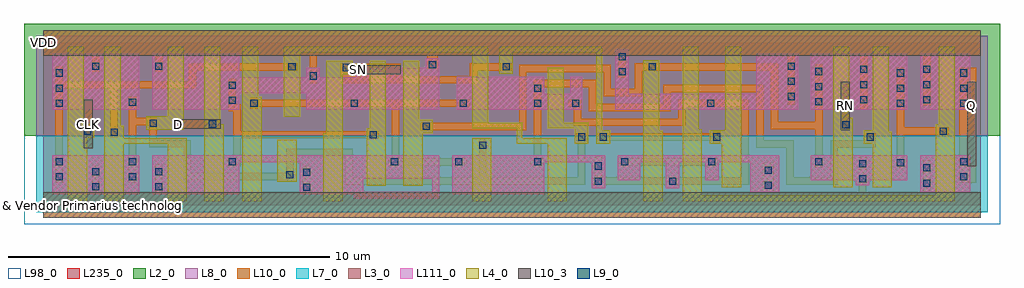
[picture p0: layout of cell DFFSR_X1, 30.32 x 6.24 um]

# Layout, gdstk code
import gdstk
lib = gdstk.Library(unit=1e-6, precision=1e-09)
def R(c, l, rs):  # rectangles x0, y0, x1, y1
    for r in rs: c.add(gdstk.rectangle(r[:2], r[2:], *l))
def A(c, l, x, y, w, h, nx, ny, dx, dy):  # array of equal rectangles
    R(c, l, [(x+i*dx, y+j*dy, x+i*dx+w, y+j*dy+h) for i in range(nx) for j in range(ny)])
def P(c, l, *ps):  # polygons
    for p in ps: c.add(gdstk.Polygon(p, *l))
L2_0 = (2, 0)
L3_0 = (3, 0)
L4_0 = (4, 0)
L7_0 = (7, 0)
L8_0 = (8, 0)
L9_0 = (9, 0)
L10_0 = (10, 0)
L10_3 = (10, 3)
L98_0 = (98, 0)
L111_0 = (111, 0)
L235_0 = (235, 0)

dffsr_x1 = lib.new_cell('DFFSR_X1')
R(dffsr_x1, L2_0, [(-0.6,2.155,29.72,5.64)])
R(dffsr_x1, L3_0, [(0.28,0.345,2.98,1.555), (27.24,0.405,28.8,1.555), (0.28,2.955,2.98,4.695), (23.845,2.955,26.84,4.695), (27.24,2.955,28.8,4.695)])
P(dffsr_x1, L3_0, [(12.3,4.565),(11.88,4.565),(11.88,4.265),(9.72,4.265),(9.72,3.965),(8.595,3.965),(8.595,4.265),(8.175,4.265),(8.175,3.97),(6.08,3.97),(6.08,4.695),(3.38,4.695),(3.38,2.955),(6.08,2.955),(6.08,3.47),(8.175,3.47),(8.175,2.955),(12.3,2.955)],
  [(22.865,1.555),(17.85,1.555),(17.85,0.775),(18.54,0.775),(18.54,1.335),(19.34,1.335),(19.34,0.525),(19.76,0.525),(19.76,1.335),(20.56,1.335),(20.56,0.775),(20.98,0.775),(20.98,1.335),(21.965,1.335),(21.965,0.405),(22.865,0.405)],
  [(26.84,1.555),(23.845,1.555),(23.845,0.775),(25.24,0.775),(25.24,0.61),(25.66,0.61),(25.66,0.775),(26.84,0.775)],
  [(16.745,3.985),(16.365,3.985),(16.365,3.455),(15.565,3.455),(15.565,3.985),(12.84,3.985),(12.84,2.955),(16.745,2.955)],
  [(23.445,4.695),(22.145,4.695),(22.145,3.455),(18.19,3.455),(18.19,4.835),(17.77,4.835),(17.77,2.955),(23.445,2.955)],
  [(17.45,1.555),(12.7,1.555),(12.7,0.345),(15.565,0.345),(15.565,1.335),(17.03,1.335),(17.03,0.525),(17.45,0.525)],
  [(12.3,1.555),(12.08,1.555),(12.08,0.42),(9.94,0.42),(9.94,0.82),(12.08,0.82),(12.08,1.555),(3.38,1.555),(3.38,0.345),(6.08,0.345),(6.08,1.335),(7.97,1.335),(7.97,0.345),(9.64,0.345),(9.64,0.2),(12.3,0.2)])
R(dffsr_x1, L4_0, [(3.86,0.125,4.46,1.99), (13.32,0.125,13.92,2.075), (15.665,0.125,16.265,2.025), (7.27,0.73,7.87,2.025), (7.45,0.73,7.87,1.15), (13.44,1.655,13.86,2.075), (16.515,1.905,16.935,2.325), (17.185,1.905,17.605,2.325), (20.71,1.905,21.13,2.325), (25.485,1.905,25.905,2.325), (10.04,1.975,10.46,2.395), (1.99,2.05,2.41,2.47), (1.165,2.09,1.585,2.51), (27.75,2.09,28.17,2.51), (11.685,2.235,12.105,2.655), (24.72,2.29,25.14,2.71), (5.045,2.31,5.465,2.73), (16.515,2.31,16.935,2.565), (3.2,2.335,3.62,2.755), (3.2,2.335,4.36,2.755), (3.86,2.41,4.36,4.915), (13.32,2.41,13.82,4.915), (15.665,2.41,16.165,4.26), (7.475,2.745,7.975,4.745), (6.335,2.95,6.755,3.37), (9.2,4.065,9.62,4.485), (7.515,4.085,7.935,4.505), (14.17,4.085,14.59,4.505), (14.17,4.085,14.59,4.915), (18.71,4.085,19.13,4.505), (7.475,4.505,7.975,4.8)])
P(dffsr_x1, L4_0, [(21.68,4.915),(21.18,4.915),(21.18,2.325),(21.08,2.325),(21.08,0.555),(21.68,0.555)],
  [(11.78,2.655),(11.68,2.655),(11.68,4.485),(11.18,4.485),(11.18,0.6),(11.78,0.6)],
  [(9.295,4.485),(8.795,4.485),(8.795,2.23),(8.695,2.23),(8.695,0.125),(9.295,0.125)],
  [(25.14,2.295),(25.04,2.295),(25.04,4.915),(24.54,4.915),(24.54,0.555),(25.14,0.555)],
  [(6.78,3.37),(6.68,3.37),(6.68,4.915),(6.18,4.915),(6.18,0.125),(6.78,0.125)],
  [(26.36,2.28),(26.26,2.28),(26.26,4.915),(25.76,4.915),(25.76,0.555),(26.36,0.555)],
  [(20.46,2.355),(20.36,2.355),(20.36,4.915),(19.86,4.915),(19.86,0.125),(20.46,0.125)],
  [(10.64,4.485),(10.14,4.485),(10.14,2.225),(10.04,2.225),(10.04,0.6),(10.64,0.6)],
  [(1.36,2.51),(1.26,2.51),(1.26,4.915),(0.76,4.915),(0.76,0.125),(1.36,0.125)],
  [(2.5,2.47),(2.4,2.47),(2.4,4.915),(1.9,4.915),(1.9,0.125),(2.5,0.125)],
  [(19.24,2.315),(19.14,2.315),(19.14,4.505),(18.64,4.505),(18.64,0.125),(19.24,0.125)],
  [(28.32,4.915),(27.82,4.915),(27.82,2.51),(27.72,2.51),(27.72,0.215),(28.32,0.215)],
  [(5.6,2.51),(5.5,2.51),(5.5,4.915),(5,4.915),(5,0.125),(5.6,0.125)])
R(dffsr_x1, L7_0, [(-0.22,-0.22,29.34,2.155)])
R(dffsr_x1, L8_0, [(-0.22,2.155,29.34,5.26)])
A(dffsr_x1, L9_0, 0.38, 3.055, 0.22, 0.22, 1, 3, 0, 0.47)
A(dffsr_x1, L9_0, 26.52, 3.055, 0.22, 0.22, 1, 3, 0, 0.47)
A(dffsr_x1, L9_0, 28.48, 3.055, 0.22, 0.22, 1, 3, 0, 0.47)
A(dffsr_x1, L9_0, 23.985, 3.1, 0.22, 0.22, 1, 3, 0, 0.47)
A(dffsr_x1, L9_0, 25.38, 3.165, 0.22, 0.22, 1, 3, 0, 0.47)
A(dffsr_x1, L9_0, 27.34, 3.165, 0.22, 0.22, 1, 3, 0, 0.47)
A(dffsr_x1, L9_0, 23.125, 3.265, 0.22, 0.22, 1, 3, 0, 0.47)
R(dffsr_x1, L9_0, [(8.07,0.445,8.29,0.665), (1.52,0.455,1.74,0.675), (3.48,0.455,3.7,0.675), (22.41,0.505,22.63,0.725), (27.34,0.575,27.56,0.795), (17.13,0.635,17.35,0.855), (19.44,0.635,19.66,0.855), (25.34,0.71,25.56,0.93), (0.38,0.765,0.6,0.985), (2.66,0.765,2.88,0.985), (28.48,0.765,28.7,0.985), (7.55,0.83,7.77,1.05), (8.07,0.915,8.29,1.135), (1.52,0.925,1.74,1.145), (3.48,0.925,3.7,1.145), (22.41,0.975,22.63,1.195), (27.34,1.045,27.56,1.265), (17.13,1.105,17.35,1.325), (25.34,1.18,25.56,1.4), (26.52,1.2,26.74,1.42), (0.38,1.235,0.6,1.455), (2.66,1.235,2.88,1.455), (5.76,1.235,5.98,1.455), (10.8,1.235,11.02,1.455), (12.8,1.235,13.02,1.455), (15.245,1.235,15.465,1.455), (17.95,1.235,18.17,1.455), (20.66,1.235,20.88,1.455), (23.985,1.235,24.205,1.455), (28.48,1.235,28.7,1.455), (13.54,1.755,13.76,1.975), (16.615,2.005,16.835,2.225), (17.285,2.005,17.505,2.225), (20.81,2.005,21.03,2.225), (25.585,2.005,25.805,2.225), (10.14,2.075,10.36,2.295), (2.09,2.15,2.31,2.37), (1.265,2.19,1.485,2.41), (27.85,2.19,28.07,2.41), (11.785,2.335,12.005,2.555), (24.82,2.39,25.04,2.61), (5.145,2.41,5.365,2.63), (3.3,2.435,3.52,2.655), (6.435,3.05,6.655,3.27), (9.545,3.055,9.765,3.275), (12.94,3.055,13.16,3.275), (12.94,3.055,13.16,3.275), (15.245,3.055,15.465,3.275), (16.425,3.055,16.645,3.275), (20.62,3.055,20.84,3.275), (2.66,3.09,2.88,3.31), (5.76,3.145,5.98,3.365), (15.245,3.525,15.465,3.745), (5.76,3.615,5.98,3.835), (8.275,3.9,8.495,4.12), (17.87,4.03,18.09,4.25), (27.34,4.105,27.56,4.325), (27.34,4.105,27.56,4.325), (9.3,4.165,9.52,4.385), (7.615,4.185,7.835,4.405), (14.27,4.185,14.49,4.405), (18.81,4.185,19.03,4.405), (1.52,4.205,1.74,4.425), (1.52,4.205,1.74,4.425), (3.48,4.205,3.7,4.425), (11.98,4.245,12.2,4.465), (17.87,4.5,18.09,4.72)])
R(dffsr_x1, L10_0, [(28.45,0.7,28.98,4.275), (7.545,0.77,7.775,1.11), (13.535,1.695,13.765,2.035), (1.26,1.77,1.54,3.27), (20.805,1.945,21.035,2.285), (16.555,2,16.895,2.23), (17.225,2,17.565,2.23), (25.525,2,25.865,2.23), (10.08,2.07,10.42,2.3), (2.085,2.09,2.315,2.43), (1.26,2.13,1.49,2.47), (27.79,2.185,28.13,2.415), (11.725,2.33,12.065,2.56), (24.78,2.33,25.06,3.83), (24.815,2.33,25.045,2.67), (3.295,2.375,3.525,2.715), (5.085,2.405,5.425,2.635), (6.43,2.99,6.66,3.33), (9.24,3.78,11.11,4.39), (9.24,4.16,9.58,4.39), (7.555,4.18,7.895,4.41), (14.21,4.18,14.55,4.41), (18.75,4.18,19.09,4.41)])
R(dffsr_x1, L10_3, [(0,-0.4,29.12,0.4), (28.7,1.21,28.98,3.83), (1.26,1.77,1.54,3.27), (24.78,2.33,25.06,3.83), (4.01,2.38,5.51,2.66), (9.61,4.06,11.11,4.34), (0,4.64,29.12,5.44)])
R(dffsr_x1, L98_0, [(-0.6,-0.6,29.72,5.64)])
R(dffsr_x1, L111_0, [(0.28,0.345,2.98,1.555), (27.24,0.405,28.8,1.555), (0.28,2.955,2.98,4.695), (23.845,2.955,26.84,4.695), (27.24,2.955,28.8,4.695)])
P(dffsr_x1, L111_0, [(17.45,1.555),(12.7,1.555),(12.7,0.345),(15.565,0.345),(15.565,1.335),(17.03,1.335),(17.03,0.525),(17.45,0.525)],
  [(26.84,1.555),(23.845,1.555),(23.845,0.775),(25.24,0.775),(25.24,0.61),(25.66,0.61),(25.66,0.775),(26.84,0.775)],
  [(22.865,1.555),(17.85,1.555),(17.85,0.775),(18.54,0.775),(18.54,1.335),(19.34,1.335),(19.34,0.525),(19.76,0.525),(19.76,1.335),(20.56,1.335),(20.56,0.775),(20.98,0.775),(20.98,1.335),(21.965,1.335),(21.965,0.405),(22.865,0.405)],
  [(12.3,1.555),(12.08,1.555),(12.08,0.42),(9.94,0.42),(9.94,0.82),(12.08,0.82),(12.08,1.555),(3.38,1.555),(3.38,0.345),(6.08,0.345),(6.08,1.335),(7.97,1.335),(7.97,0.345),(9.64,0.345),(9.64,0.2),(12.3,0.2)],
  [(16.745,3.985),(16.365,3.985),(16.365,3.455),(15.565,3.455),(15.565,3.985),(12.84,3.985),(12.84,2.955),(16.745,2.955)],
  [(23.445,4.695),(22.145,4.695),(22.145,3.455),(18.19,3.455),(18.19,4.835),(17.77,4.835),(17.77,2.955),(23.445,2.955)],
  [(12.3,4.565),(11.88,4.565),(11.88,4.265),(9.72,4.265),(9.72,3.965),(8.595,3.965),(8.595,4.265),(8.175,4.265),(8.175,3.97),(6.08,3.97),(6.08,4.695),(3.38,4.695),(3.38,2.955),(6.08,2.955),(6.08,3.47),(8.175,3.47),(8.175,2.955),(12.3,2.955)])
R(dffsr_x1, L235_0, [(0,0,29.12,5.04)])
dffsr_x1.add(gdstk.FlexPath([(17.275,2.265),(17.275,4.825),(14.17,4.825)], 0.18, ends="flush", simple_path=True, layer=4, datatype=0))  # L4_0
dffsr_x1.add(gdstk.FlexPath([(15.665,2.475),(16.935,2.475)], 0.18, ends="flush", simple_path=True, layer=4, datatype=0))  # L4_0
dffsr_x1.add(gdstk.FlexPath([(19.86,0.215),(28.32,0.215)], 0.18, ends="flush", simple_path=True, layer=4, datatype=0))  # L4_0
dffsr_x1.add(gdstk.FlexPath([(4.46,1.995),(2.5,1.995)], 0.18, ends="flush", simple_path=True, layer=4, datatype=0))  # L4_0
dffsr_x1.add(gdstk.FlexPath([(13.32,2.475),(14.79,2.475),(14.79,1.995),(16.265,1.995)], 0.18, ends="flush", simple_path=True, layer=4, datatype=0))  # L4_0
dffsr_x1.add(gdstk.FlexPath([(7.475,4.825),(13.325,4.825)], 0.18, ends="flush", simple_path=True, layer=4, datatype=0))  # L4_0
dffsr_x1.add(gdstk.FlexPath([(2.77,2.6),(3.41,2.6),(3.41,1.905),(4.47,1.905),(4.47,0.885),(7.66,0.885),(7.66,1.63),(9.495,1.63),(9.495,0.745),(16.725,0.745),(16.725,2.225)], 0.23, ends="flush", simple_path=True, layer=10, datatype=0))  # L10_0
dffsr_x1.add(gdstk.FlexPath([(17.98,5.04),(17.98,3.96)], 0.23, ends="flush", simple_path=True, layer=10, datatype=0))  # L10_0
dffsr_x1.add(gdstk.FlexPath([(15.14,1.345),(15.545,1.345)], 0.23, ends="flush", simple_path=True, layer=10, datatype=0))  # L10_0
dffsr_x1.add(gdstk.FlexPath([(12.09,4.24),(12.09,4.81)], 0.34, ends="flush", simple_path=True, layer=10, datatype=0))  # L10_0
dffsr_x1.add(gdstk.FlexPath([(10.935,3.05),(10.935,1.23)], 0.23, ends="flush", simple_path=True, layer=10, datatype=0))  # L10_0
dffsr_x1.add(gdstk.FlexPath([(17.87,1.345),(20.958,1.345)], 0.23, ends="flush", simple_path=True, layer=10, datatype=0))  # L10_0
dffsr_x1.add(gdstk.FlexPath([(17.28,2.115),(20.955,2.115)], 0.23, ends="flush", simple_path=True, layer=10, datatype=0))  # L10_0
dffsr_x1.add(gdstk.FlexPath([(25.865,1.895),(24.57,1.895),(24.57,0.745),(23.19,0.745),(23.19,1.895),(22.26,1.895),(22.26,3.625),(19.375,3.625),(19.375,3.035),(17.06,3.035),(17.06,3.78),(15.24,3.78)], 0.23, ends="flush", simple_path=True, layer=10, datatype=0))  # L10_0
dffsr_x1.add(gdstk.FlexPath([(22.52,0.16),(22.52,1.325)], 0.34, ends="flush", simple_path=True, layer=10, datatype=0))  # L10_0
dffsr_x1.add(gdstk.FlexPath([(11.815,2.445),(14.895,2.445),(14.895,4.24),(17.52,4.24),(17.52,3.495),(18.495,3.495),(18.495,4.295),(22.72,4.295),(22.72,2.47),(23.98,2.47)], 0.23, ends="flush", simple_path=True, layer=10, datatype=0))  # L10_0
dffsr_x1.add(gdstk.FlexPath([(0.49,4.315),(0.49,0.69)], 0.23, ends="flush", simple_path=True, layer=10, datatype=0))  # L10_0
dffsr_x1.add(gdstk.FlexPath([(23.235,5.04),(23.235,3.12)], 0.23, ends="flush", simple_path=True, layer=10, datatype=0))  # L10_0
dffsr_x1.add(gdstk.FlexPath([(8.18,1.245),(8.18,0.005)], 0.23, ends="flush", simple_path=True, layer=10, datatype=0))  # L10_0
dffsr_x1.add(gdstk.FlexPath([(10.715,1.345),(13.15,1.345)], 0.23, ends="flush", simple_path=True, layer=10, datatype=0))  # L10_0
dffsr_x1.add(gdstk.FlexPath([(10.42,2.185),(6.04,2.185)], 0.23, ends="flush", simple_path=True, layer=10, datatype=0))  # L10_0
dffsr_x1.add(gdstk.FlexPath([(25.49,5.04),(25.49,2.98)], 0.23, ends="flush", simple_path=True, layer=10, datatype=0))  # L10_0
dffsr_x1.add(gdstk.FlexPath([(25.45,1.495),(25.45,0)], 0.23, ends="flush", simple_path=True, layer=10, datatype=0))  # L10_0
dffsr_x1.add(gdstk.FlexPath([(26.63,4.275),(26.63,1.14)], 0.23, ends="flush", simple_path=True, layer=10, datatype=0))  # L10_0
dffsr_x1.add(gdstk.FlexPath([(16.305,3.165),(16.6,3.165),(16.6,2.575),(19.835,2.575),(19.835,3.165),(21.8,3.165),(21.8,0.745),(17.07,0.745)], 0.23, ends="flush", simple_path=True, layer=10, datatype=0))  # L10_0
dffsr_x1.add(gdstk.FlexPath([(15.355,1.23),(15.355,3.75)], 0.23, ends="flush", simple_path=True, layer=10, datatype=0))  # L10_0
dffsr_x1.add(gdstk.FlexPath([(7.815,4.295),(4.64,4.295),(4.64,3.74),(0.605,3.74)], 0.23, ends="flush", simple_path=True, layer=10, datatype=0))  # L10_0
dffsr_x1.add(gdstk.FlexPath([(27.45,1.4),(27.45,0.005)], 0.23, ends="flush", simple_path=True, layer=10, datatype=0))  # L10_0
dffsr_x1.add(gdstk.FlexPath([(5.87,3.92),(5.87,3.025),(6.015,3.025),(6.015,1.345),(5.7,1.345)], 0.23, ends="flush", simple_path=True, layer=10, datatype=0))  # L10_0
dffsr_x1.add(gdstk.FlexPath([(13.25,3.165),(6.43,3.165)], 0.23, ends="flush", simple_path=True, layer=10, datatype=0))  # L10_0
dffsr_x1.add(gdstk.FlexPath([(1.63,1.24),(1.63,0.005)], 0.23, ends="flush", simple_path=True, layer=10, datatype=0))  # L10_0
dffsr_x1.add(gdstk.FlexPath([(0,0),(29.12,0)], 0.8, ends="flush", simple_path=True, layer=10, datatype=0))  # L10_0
dffsr_x1.add(gdstk.FlexPath([(27.45,5.04),(27.45,3.105)], 0.23, ends="flush", simple_path=True, layer=10, datatype=0))  # L10_0
dffsr_x1.add(gdstk.FlexPath([(0,5.04),(29.12,5.04)], 0.8, ends="flush", simple_path=True, layer=10, datatype=0))  # L10_0
dffsr_x1.add(gdstk.FlexPath([(17.24,1.52),(17.24,0.63)], 0.23, ends="flush", simple_path=True, layer=10, datatype=0))  # L10_0
dffsr_x1.add(gdstk.FlexPath([(1.63,5.04),(1.63,4.145)], 0.23, ends="flush", simple_path=True, layer=10, datatype=0))  # L10_0
dffsr_x1.add(gdstk.FlexPath([(2.77,3.37),(2.77,0.675)], 0.23, ends="flush", simple_path=True, layer=10, datatype=0))  # L10_0
dffsr_x1.add(gdstk.FlexPath([(2.2,2.195),(2.2,3.705)], 0.23, ends="flush", simple_path=True, layer=10, datatype=0))  # L10_0
dffsr_x1.add(gdstk.FlexPath([(4.01,2.52),(5.51,2.52)], 0.28, ends="flush", simple_path=True, layer=10, datatype=0))  # L10_0
dffsr_x1.add(gdstk.FlexPath([(28.075,2.3),(26.63,2.3)], 0.23, ends="flush", simple_path=True, layer=10, datatype=0))  # L10_0
dffsr_x1.add(gdstk.FlexPath([(9.465,4.39),(9.465,3.895),(13.36,3.895),(13.36,4.295),(14.245,4.295)], 0.23, ends="flush", simple_path=True, layer=10, datatype=0))  # L10_0
dffsr_x1.add(gdstk.FlexPath([(13.65,2.035),(13.65,0.8)], 0.23, ends="flush", simple_path=True, layer=10, datatype=0))  # L10_0
dffsr_x1.add(gdstk.FlexPath([(8.385,5.04),(8.385,3.785)], 0.23, ends="flush", simple_path=True, layer=10, datatype=0))  # L10_0
dffsr_x1.add(gdstk.FlexPath([(3.59,1.265),(3.59,0.005)], 0.23, ends="flush", simple_path=True, layer=10, datatype=0))  # L10_0
dffsr_x1.add(gdstk.FlexPath([(24.095,4.38),(24.095,1.165)], 0.23, ends="flush", simple_path=True, layer=10, datatype=0))  # L10_0
dffsr_x1.add(gdstk.FlexPath([(3.59,5.04),(3.59,4.145)], 0.23, ends="flush", simple_path=True, layer=10, datatype=0))  # L10_0
dffsr_x1.add(gdstk.Label('& Vendor Primarius technologies Co.,Ltd.', (0,0), layer=58, texttype=0))
dffsr_x1.add(gdstk.Label('& Product prima_sc180bcd_5v_9t', (0,0), layer=58, texttype=0))
dffsr_x1.add(gdstk.Label('& Version 2023Q3', (0,0), layer=58, texttype=0))
dffsr_x1.add(gdstk.Label('SN', (9.8,4.2), layer=10, texttype=3))
dffsr_x1.add(gdstk.Label('RN', (24.92,3.08), layer=10, texttype=3))
dffsr_x1.add(gdstk.Label('Q', (28.84,3.08), layer=10, texttype=3))
dffsr_x1.add(gdstk.Label('D', (4.2,2.52), layer=10, texttype=3))
dffsr_x1.add(gdstk.Label('CLK', (1.4,2.52), layer=10, texttype=3))
dffsr_x1.add(gdstk.Label('VSS', (0,0), layer=10, texttype=3))
dffsr_x1.add(gdstk.Label('VDD', (0,5.04), layer=10, texttype=3))

lib.write_gds('DFFSR_X1.gds')
